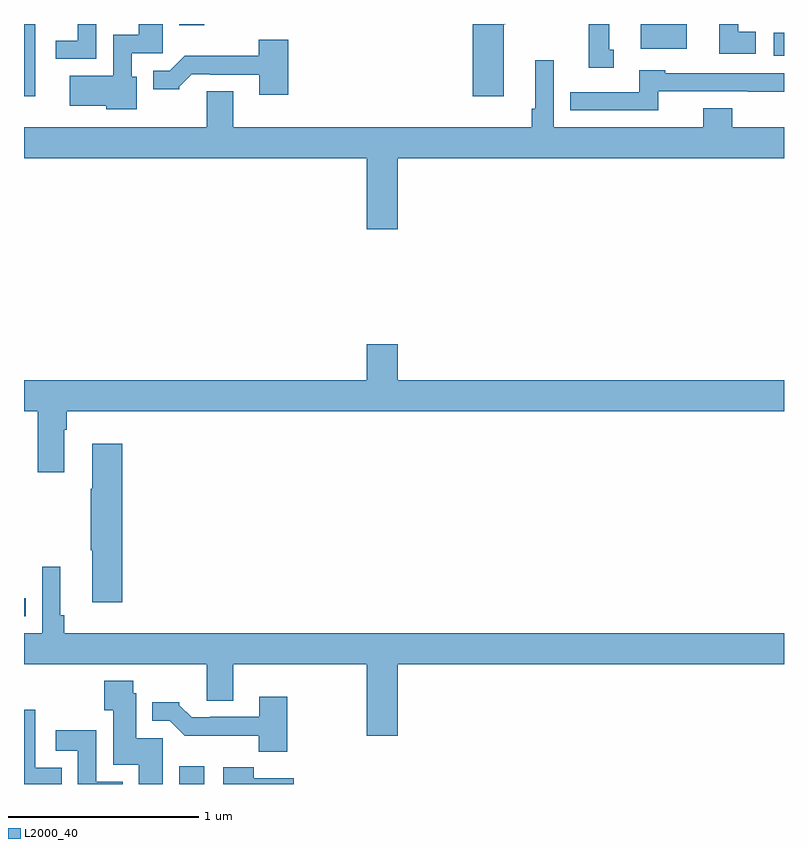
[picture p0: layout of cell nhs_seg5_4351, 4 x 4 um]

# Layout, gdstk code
import gdstk
lib = gdstk.Library(unit=1e-6, precision=1e-09)
def R(c, l, rs):  # rectangles x0, y0, x1, y1
    for r in rs: c.add(gdstk.rectangle(r[:2], r[2:], *l))
def P(c, l, *ps):  # polygons
    for p in ps: c.add(gdstk.Polygon(p, *l))
L2000_40 = (2000, 40)

nhs_seg5_4351 = lib.new_cell('nhs_seg5_4351')
R(nhs_seg5_4351, L2000_40, [(367.817,854.799,367.948,854.893), (367,855.681,367.01,855.777), (367,858.42,367.06,858.799), (370.947,858.633,371,858.753), (370.247,858.668,370.489,858.799), (367.817,858.792,367.948,858.799), (368.048,858.797,368.21,858.799)])
P(nhs_seg5_4351, L2000_40, [(367.594,858.522),(367.566,858.522),(367.566,858.645),(367.729,858.645),(367.729,858.799),(367.604,858.799),(367.604,858.742),(367.47,858.742),(367.47,858.526),(367.242,858.526),(367.242,858.368),(367.434,858.368),(367.434,858.35),(367.594,858.35)],
  [(370.105,858.663),(370.081,858.663),(370.081,858.799),(369.972,858.799),(369.972,858.569),(370.105,858.569)],
  [(370.852,858.758),(370.758,858.758),(370.758,858.799),(370.658,858.799),(370.658,858.642),(370.852,858.642)],
  [(369.526,858.797),(369.534,858.797),(369.534,858.799),(369.362,858.799),(369.362,858.42),(369.526,858.42)],
  [(367.38,858.799),(367.284,858.799),(367.284,858.711),(367.167,858.711),(367.167,858.615),(367.38,858.615)],
  [(368.39,858.715),(368.235,858.715),(368.235,858.631),(367.846,858.631),(367.767,858.552),(367.679,858.552),(367.679,858.455),(367.818,858.455),(367.818,858.47),(367.882,858.534),(367.981,858.534),(367.981,858.531),(368.237,858.531),(368.237,858.426),(368.39,858.426)],
  [(368.968,858.092),(371,858.092),(371,858.256),(370.727,858.256),(370.727,858.355),(370.574,858.355),(370.574,858.256),(369.789,858.256),(369.789,858.607),(369.692,858.607),(369.692,858.352),(369.673,858.352),(369.673,858.256),(368.101,858.256),(368.101,858.446),(367.961,858.446),(367.961,858.256),(367,858.256),(367,858.092),(368.804,858.092),(368.804,857.718),(368.968,857.718)],
  [(370.338,858.444),(370.81,858.444),(370.81,858.443),(371,858.443),(371,858.54),(370.374,858.54),(370.374,858.556),(370.238,858.556),(370.238,858.441),(369.874,858.441),(369.874,858.345),(370.338,858.345)],
  [(367.213,856.664),(367.226,856.664),(367.226,856.76),(371,856.76),(371,856.924),(368.968,856.924),(368.968,857.113),(368.804,857.113),(368.804,856.924),(367,856.924),(367,856.76),(367.073,856.76),(367.073,856.44),(367.213,856.44)],
  [(367.517,856.591),(367.358,856.591),(367.358,856.352),(367.351,856.352),(367.351,856.03),(367.358,856.03),(367.358,855.756),(367.517,855.756)],
  [(367.192,855.688),(367.192,855.943),(367.095,855.943),(367.095,855.592),(367,855.592),(367,855.428),(367.961,855.428),(367.961,855.238),(368.101,855.238),(368.101,855.428),(368.804,855.428),(368.804,855.054),(368.968,855.054),(368.968,855.428),(371,855.428),(371,855.592),(367.211,855.592),(367.211,855.688)],
  [(367.729,855.039),(367.591,855.039),(367.591,855.276),(367.575,855.276),(367.575,855.343),(367.423,855.343),(367.423,855.187),(367.469,855.187),(367.469,854.9),(367.604,854.9),(367.604,854.799),(367.729,854.799)],
  [(368.385,855.259),(368.237,855.259),(368.237,855.153),(367.981,855.153),(367.981,855.15),(367.882,855.15),(367.818,855.214),(367.818,855.229),(367.676,855.229),(367.676,855.132),(367.767,855.132),(367.846,855.054),(368.235,855.054),(368.235,854.969),(368.385,854.969)],
  [(367.199,854.884),(367.06,854.884),(367.06,855.19),(367,855.19),(367,854.799),(367.199,854.799)],
  [(367.519,854.812),(367.38,854.812),(367.38,855.082),(367.167,855.082),(367.167,854.973),(367.284,854.973),(367.284,854.799),(367.519,854.799)],
  [(368.419,854.83),(368.21,854.83),(368.21,854.887),(368.048,854.887),(368.048,854.799),(368.419,854.799)])

lib.write_gds('nhs_seg5_4351.gds')
